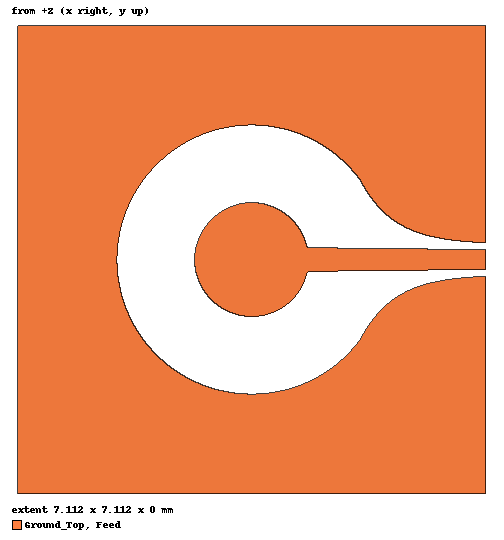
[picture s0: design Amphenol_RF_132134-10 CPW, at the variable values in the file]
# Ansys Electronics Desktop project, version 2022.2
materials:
  vacuum: permittivity=1
  Isola I-Speed (R): permittivity=3.64 dielectric_loss_tangent=0.006
  pec: conductivity=1e+30

design Amphenol_RF_132134-10 CPW (HFSS, DrivenModal, model units mm)
options: Allow_Material_Override
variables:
  substrate = 280mil
  h_L1L2 = 10mil
  gcpw_width = 12mil
  d_pad = 68.11mil
  r_cutout = 80.5mil
  rct_l = 279.921mil
  rct_w = 94.882mil
  gcpw_gap = 4mil
  h_airbox = (8.84*2) mm
  port_width = 10*gcpw_width
  A = 2mm
  k = 1
  th = asin(rct_w / (2*r_cutout))
  yoff = rct_l/2 - (r_cutout * cos(th))
  n = ln((rct_w/2 + 1mil - gcpw_gap - gcpw_width/2)/1mil)
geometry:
  Feed = rectangle(corner=(substrate/2, -gcpw_width/2, 0mm), x_size=-substrate/2, y_size=gcpw_width)
  Pad = circle(normal=Z, centre=(0mm, 0mm, 0mm), radius=d_pad/2)
  Cutout_Circular = circle(normal=Z, centre=(0mm, 0mm, 0mm), radius=r_cutout)
  Rectangle_Cutout = rectangle(corner=(0, -rct_w/2, 0mm), x_size=rct_l/2, y_size=rct_w)
  Ground_Cutout = rectangle(corner=(substrate/2, -gcpw_width/2 - gcpw_gap, 0mm), x_size=-substrate/2, y_size=gcpw_width + 2*gcpw_gap)
  Ground_Top = rectangle(corner=(-substrate/2, -substrate/2, 0mm), x_size=substrate, y_size=substrate)
  Feed.unite(Pad)
  Ground_Cutout.unite(Cutout_Circular, Rectangle_Cutout)
  Ground_Top.subtract(Ground_Cutout)
  EquationCurve1 = equation_curve(x=rct_l/2 - _t, y=exp(k*_t/(rct_l/2))*1mil - 1mil + gcpw_width/2, z=0, _t=0 to rct_l/2)
  EquationCurve1_1 = EquationCurve1.duplicate_mirror(point=(0mm, 0mm, 0mm), normal=(0mm, 1mm, 0mm))
  Polyline1 = polyline((0mm, -gcpw_width/2 - exp(k)*1mil + 1mil, 0mm) (0mm, gcpw_width/2 + exp(k)*1mil - 1mil, 0mm))
  Polyline2 = polyline((rct_l/2, -gcpw_width/2, 0mm) (rct_l/2, gcpw_width/2, 0mm))
  EquationCurve1.unite(EquationCurve1_1, Polyline1, Polyline2)
  EquationCurve1.cover_lines()
  Feed.unite(EquationCurve1)
  EquationCurve2 = equation_curve(x=rct_l/2 - _t, y=gcpw_width/2 + gcpw_gap + 1mil * exp(n * _t/(yoff)) - 1mil, z=0, _t=0 to yoff)
  Polyline3 = polyline((rct_l/2 - yoff, rct_w/2, 0mm) (rct_l/2, rct_w/2, 0mm))
  Polyline4 = polyline((rct_l/2, rct_w/2, 0mm) (rct_l/2, gcpw_width/2 + gcpw_gap, 0mm))
  EquationCurve2.unite(Polyline3, Polyline4)
  EquationCurve2.cover_lines()
  EquationCurve2_1 = EquationCurve2.duplicate_mirror(point=(0mm, 0mm, 0mm), normal=(0mm, 1mm, 0mm))
  EquationCurve2.unite(EquationCurve2_1)
  Ground_Top.unite(EquationCurve2)
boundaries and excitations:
  PerfE_Feed: Perfect E Objects=Feed
  PerfE_Ground_Top: Perfect E Objects=Ground_Top
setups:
  Setup1: HfssDriven Frequency=10GHz MaxDeltaE=0.1 MaximumPasses=16 MinimumPasses=1 MinimumConvergedPasses=1 PercentRefinement=30 BasisOrder=1 DrivenSolverType="Direct Solver"
    sweep Sweep: 2GHz to 15GHz, 401 points; Type=Interpolating InterpTolerance=0.5 InterpMaxSolns=250 InterpUsePortImped=false PassivityErrorTolerance=0.0001
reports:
  S Parameter Plot 1: dB(S(1,1)), dB(S(132134_10_1_1,1)) vs Freq on Setup1 : Sweep
  Port Zo Plot 1: re(Zo(1)) vs Freq on Setup1 : Sweep
